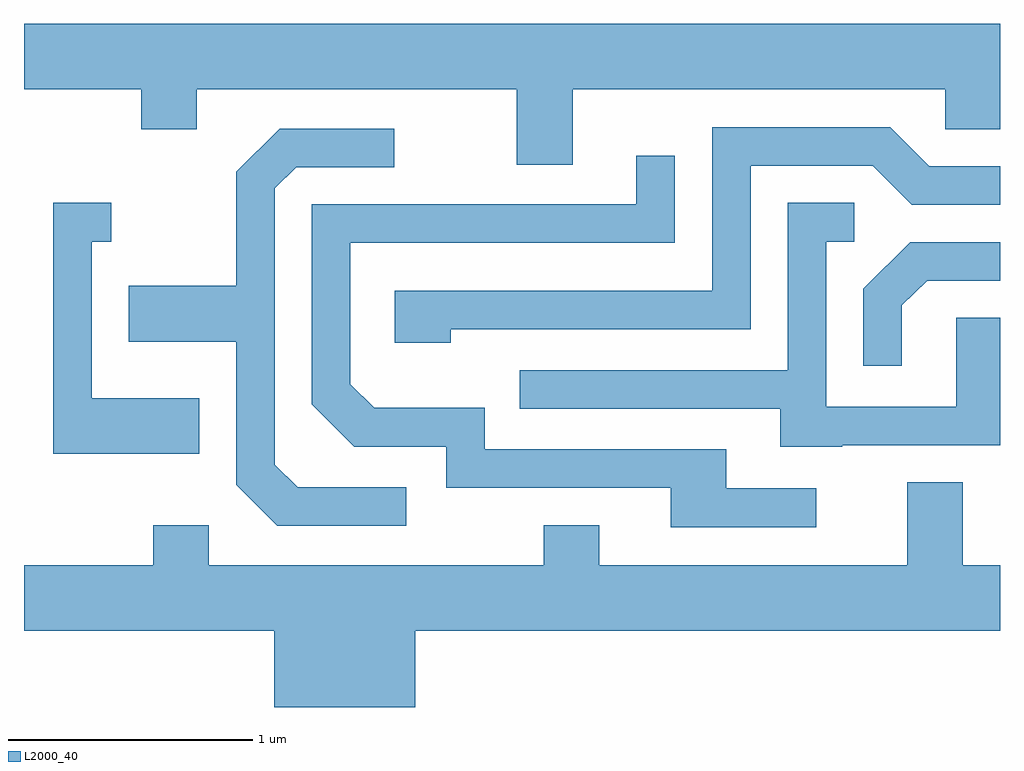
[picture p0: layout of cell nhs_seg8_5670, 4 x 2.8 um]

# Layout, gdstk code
import gdstk
lib = gdstk.Library(unit=1e-6, precision=1e-09)
def P(c, l, *ps):  # polygons
    for p in ps: c.add(gdstk.Polygon(p, *l))
L2000_40 = (2000, 40)

nhs_seg8_5670 = lib.new_cell('nhs_seg8_5670')
P(nhs_seg8_5670, L2000_40, [(357.859,1820.876),(359.386,1820.876),(359.386,1820.711),(359.611,1820.711),(359.611,1821.144),(355.611,1821.144),(355.611,1820.876),(356.091,1820.876),(356.091,1820.711),(356.319,1820.711),(356.319,1820.876),(357.631,1820.876),(357.631,1820.566),(357.859,1820.566)],
  [(357.359,1819.891),(358.589,1819.891),(358.589,1820.561),(359.089,1820.561),(359.249,1820.401),(359.611,1820.401),(359.611,1820.559),(359.322,1820.559),(359.162,1820.719),(358.431,1820.719),(358.431,1820.049),(357.131,1820.049),(357.131,1819.836),(357.359,1819.836)],
  [(357.178,1819.244),(356.732,1819.244),(356.639,1819.337),(356.639,1820.469),(356.727,1820.556),(357.128,1820.556),(357.128,1820.714),(356.659,1820.714),(356.481,1820.537),(356.481,1820.069),(356.041,1820.069),(356.041,1819.841),(356.481,1819.841),(356.481,1819.254),(356.649,1819.086),(357.178,1819.086)],
  [(358.858,1819.239),(358.489,1819.239),(358.489,1819.399),(357.499,1819.399),(357.499,1819.569),(357.047,1819.569),(356.949,1819.667),(356.949,1820.246),(358.279,1820.246),(358.279,1820.603),(358.121,1820.603),(358.121,1820.404),(356.791,1820.404),(356.791,1819.584),(356.964,1819.411),(357.341,1819.411),(357.341,1819.241),(358.261,1819.241),(358.261,1819.081),(358.858,1819.081)],
  [(358.965,1819.416),(359.611,1819.416),(359.611,1819.939),(359.431,1819.939),(359.431,1819.574),(358.899,1819.574),(358.899,1820.251),(359.013,1820.251),(359.013,1820.409),(358.741,1820.409),(358.741,1819.724),(357.643,1819.724),(357.643,1819.566),(358.711,1819.566),(358.711,1819.411),(358.965,1819.411)],
  [(356.329,1819.609),(355.889,1819.609),(355.889,1820.251),(355.968,1820.251),(355.968,1820.409),(355.731,1820.409),(355.731,1819.381),(356.329,1819.381)],
  [(359.209,1819.989),(359.312,1820.091),(359.611,1820.091),(359.611,1820.249),(359.244,1820.249),(359.051,1820.057),(359.051,1819.743),(359.209,1819.743)],
  [(357.214,1818.656),(359.611,1818.656),(359.611,1818.924),(359.459,1818.924),(359.459,1819.264),(359.231,1819.264),(359.231,1818.924),(357.969,1818.924),(357.969,1819.089),(357.741,1819.089),(357.741,1818.924),(356.369,1818.924),(356.369,1819.089),(356.141,1819.089),(356.141,1818.924),(355.611,1818.924),(355.611,1818.656),(356.636,1818.656),(356.636,1818.342),(357.214,1818.342)])

lib.write_gds('nhs_seg8_5670.gds')
